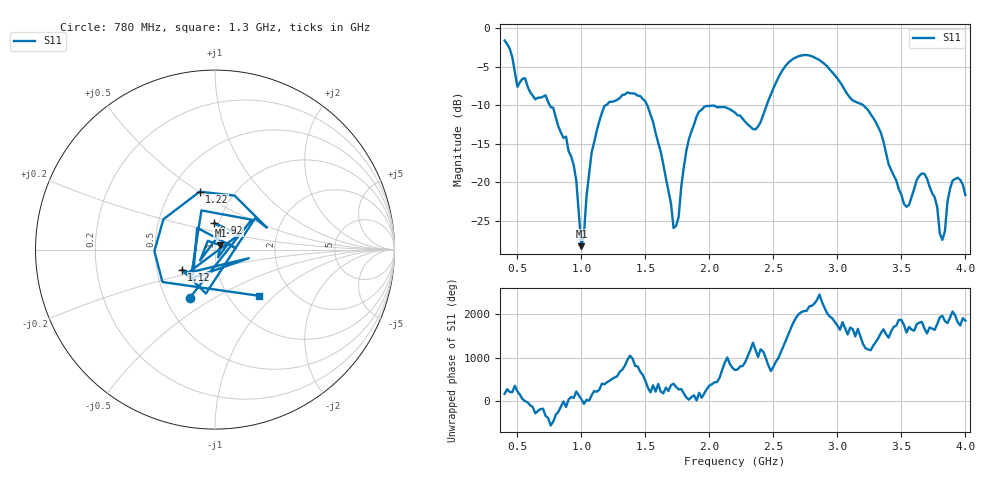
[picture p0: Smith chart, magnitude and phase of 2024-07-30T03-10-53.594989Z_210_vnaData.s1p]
!Created with skrf (http://scikit-rf.org).
# Hz S RI R 50.0
!freq ReS11 ImS11
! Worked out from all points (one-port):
!   181 points, 400 MHz to 4 GHz, reference 50 ohm
!   lowest |S11| = -28.3 dB at 1 GHz (marker M1), VSWR 1.08, Z = 53.1 + j2.54 ohm
!   |S11| at or under -10 dB: 753.4 MHz to 1.188 GHz (434.4 MHz wide, 44.8 % of centre); 1.514 GHz to 2.447 GHz (932.8 MHz wide, 47.1 % of centre); 3.203 GHz to end of sweep
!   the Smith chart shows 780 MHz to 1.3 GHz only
!   S11 on the Smith chart (normalised r, x): 780 MHz: 0.66, -0.39; 920 MHz: 0.95, +0.29; 1.12 GHz: 0.67, -0.16; 1.22 GHz: 0.69, +0.50; 1.3 GHz: 1.37, -0.80
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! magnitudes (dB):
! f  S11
! 400 MHz  -1.6
! 500 MHz  -7.6
! 780 MHz  -10.3
! 860 MHz  -14.2
! 920 MHz  -16.6
! 960 MHz  -19.8
! 1 GHz  -28.3
! 1.08 GHz  -16.1
! 1.12 GHz  -13.3
! 1.22 GHz  -9.5
! 1.3 GHz  -9.0
! 1.5 GHz  -9.5
! 1.62 GHz  -16.0
! 1.72 GHz  -25.9
! 1.76 GHz  -24.5
! 1.82 GHz  -15.9
! 1.92 GHz  -10.8
! 2.2 GHz  -10.9
! 2.36 GHz  -13.1
! 2.66 GHz  -3.9
! 2.86 GHz  -4.1
! 3.1 GHz  -9.0
! 3.3 GHz  -12.2
! 3.56 GHz  -22.9
! 3.68 GHz  -18.9
! 3.82 GHz  -27.5
! 3.9 GHz  -19.8
! 4 GHz  -21.6
